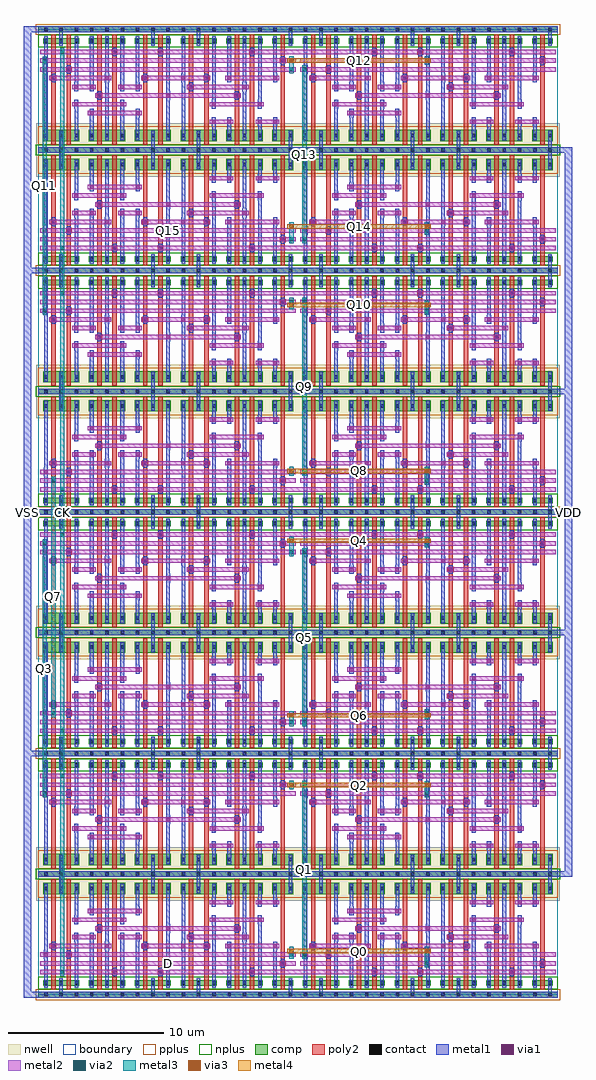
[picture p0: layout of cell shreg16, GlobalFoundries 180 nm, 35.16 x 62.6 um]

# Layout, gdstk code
import gdstk
lib = gdstk.Library(unit=1e-6, precision=1e-09)
def R(c, l, rs):  # rectangles x0, y0, x1, y1
    for r in rs: c.add(gdstk.rectangle(r[:2], r[2:], *l))
def A(c, l, x, y, w, h, nx, ny, dx, dy):  # array of equal rectangles
    R(c, l, [(x+i*dx, y+j*dy, x+i*dx+w, y+j*dy+h) for i in range(nx) for j in range(ny)])
boundary = (0, 0)
nwell = (21, 0)
comp = (22, 0)
poly2 = (30, 0)
pplus = (31, 0)
nplus = (32, 0)
contact = (33, 0)
metal1 = (34, 0)
via1 = (35, 0)
metal2 = (36, 0)
via2 = (38, 0)
via3 = (40, 0)
metal3 = (42, 0)
metal4 = (46, 0)

dff = lib.new_cell('dff')
R(dff, boundary, [(0,0,16.66,7.74)])
R(dff, nwell, [(-0.12,6.02,16.78,8.04)])
A(dff, comp, 0.31, 0.57, 2.32, 0.36, 5, 1, 2.94, 0)
A(dff, comp, 0.31, 6.45, 2.32, 0.72, 5, 1, 2.94, 0)
R(dff, comp, [(0,-0.18,16.66,0.18), (15.01,0.57,16.35,0.93), (15.01,6.45,16.35,7.17), (0,7.56,16.66,7.92)])
R(dff, poly2, [(0.84,0.35,1.12,1.15), (1.82,0.35,2.1,1.15), (3.78,0.35,4.06,1.15), (4.76,0.35,5.04,1.15), (6.72,0.35,7,1.15), (7.7,0.35,7.98,1.15), (9.66,0.35,9.94,1.15), (10.64,0.35,10.92,1.15), (12.6,0.35,12.88,1.15), (13.58,0.35,13.86,1.15), (15.54,0.35,15.82,1.15), (0.84,1.15,1.12,6.23), (1.82,1.15,2.1,6.23), (3.78,1.15,4.06,6.23), (4.76,1.15,5.04,6.23), (6.72,1.15,7,6.23), (7.7,1.15,7.98,6.23), (9.66,1.15,9.94,6.23), (10.64,1.15,10.92,6.23), (12.6,1.15,12.88,6.23), (13.58,1.15,13.86,6.23), (15.54,1.15,15.82,6.23), (4.72,1.27,5.08,1.63), (7.66,1.27,8.02,1.63), (13.54,1.27,13.9,1.63), (15.5,1.83,15.86,2.19), (1.78,2.39,2.14,2.75), (0.8,2.95,1.16,3.31), (6.68,2.95,7.04,3.31), (10.6,2.95,10.96,3.31), (9.62,3.51,9.98,3.87), (3.74,4.07,4.1,4.43), (12.56,4.07,12.92,4.43), (0.84,6.23,1.12,7.39), (1.82,6.23,2.1,7.39), (3.78,6.23,4.06,7.39), (4.76,6.23,5.04,7.39), (6.72,6.23,7,7.39), (7.7,6.23,7.98,7.39), (9.66,6.23,9.94,7.39), (10.64,6.23,10.92,7.39), (12.6,6.23,12.88,7.39), (13.58,6.23,13.86,7.39), (15.54,6.23,15.82,7.39)])
R(dff, pplus, [(-0.16,-0.34,16.82,0.34), (0,6.22,16.66,7.4)])
R(dff, nplus, [(0,0.34,16.66,1.16), (-0.16,7.4,16.82,8.08)])
A(dff, contact, 0.38, -0.11, 0.22, 0.22, 17, 2, 0.98, 0.75)
A(dff, contact, 0.38, 6.7, 0.22, 0.22, 17, 2, 0.98, 0.93)
R(dff, contact, [(4.79,1.34,5.01,1.56), (7.73,1.34,7.95,1.56), (13.61,1.34,13.83,1.56), (15.57,1.9,15.79,2.12), (1.85,2.46,2.07,2.68), (0.87,3.02,1.09,3.24), (6.75,3.02,6.97,3.24), (10.67,3.02,10.89,3.24), (9.69,3.58,9.91,3.8), (3.81,4.14,4.03,4.36), (12.63,4.14,12.85,4.36)])
A(dff, metal1, 0.375, 0.435, 0.23, 0.63, 17, 2, 0.98, 6.06)
A(dff, metal1, 9.195, 1.065, 0.23, 2.065, 3, 1, 2.94, 0)
A(dff, metal1, 4.28, 2.85, 0.26, 0.56, 3, 1, 2.45, 0)
A(dff, metal1, 9.18, 2.85, 0.26, 0.56, 3, 1, 1.47, 0)
A(dff, metal1, 6.24, 3.41, 0.26, 0.56, 3, 1, 3.43, 0)
R(dff, metal1, [(0,-0.18,16.66,0.18), (1.355,0,1.585,0.435), (7.235,0,7.465,0.435), (10.175,0,10.405,0.435), (16.055,0,16.285,0.435), (0.375,1.065,0.605,2.57), (2.335,1.065,2.565,3.69), (3.315,1.065,3.545,3.69), (4.295,1.065,4.525,3.13), (5.275,1.065,5.505,3.69), (6.255,1.065,6.485,3.69), (8.215,1.065,8.445,4.25), (11.155,1.065,11.385,4.81), (13.115,1.065,13.345,3.69), (14.095,1.065,14.325,4.81), (4.77,1.17,5.03,1.73), (7.71,1.17,7.97,1.73), (13.59,1.17,13.85,1.73), (15.55,1.73,15.81,2.29), (0.36,2.29,0.62,2.85), (0.36,2.29,0.62,2.85), (1.83,2.29,2.09,2.85), (0.375,2.57,0.605,6.495), (0.85,2.85,1.11,3.41), (4.28,2.85,4.54,3.41), (15.06,2.85,15.32,3.41), (4.295,3.13,4.525,6.495), (9.195,3.13,9.425,6.495), (2.32,3.41,2.58,3.97), (3.3,3.41,3.56,3.97), (5.26,3.41,5.52,3.97), (13.1,3.41,13.36,3.97), (13.115,3.69,13.345,6.495), (3.79,3.97,4.05,4.53), (8.2,3.97,8.46,4.53), (8.2,3.97,8.46,4.53), (12.61,3.97,12.87,4.53), (8.215,4.25,8.445,6.495), (2.32,4.53,2.58,5.09), (5.26,4.53,5.52,5.09), (11.14,4.53,11.4,5.09), (14.08,4.53,14.34,5.09), (2.335,4.81,2.565,6.495), (5.275,4.81,5.505,6.495), (3.3,5.09,3.56,5.65), (6.24,5.09,6.5,5.65), (3.315,5.37,3.545,6.495), (6.255,5.37,6.485,6.495), (11.14,5.65,11.4,6.21), (12.12,5.65,12.38,6.21), (14.08,5.65,14.34,6.21), (15.06,5.65,15.32,6.21), (11.155,5.93,11.385,6.495), (12.135,5.93,12.365,6.495), (14.095,5.93,14.325,6.495), (15.075,5.93,15.305,6.495), (1.355,7.125,1.585,7.74), (7.235,7.125,7.465,7.74), (10.175,7.125,10.405,7.74), (16.055,7.125,16.285,7.74), (0,7.56,16.66,7.92)])
A(dff, via1, 4.28, 3, 0.26, 0.26, 3, 1, 2.45, 0)
A(dff, via1, 9.18, 3, 0.26, 0.26, 3, 1, 1.47, 0)
A(dff, via1, 6.24, 3.56, 0.26, 0.26, 3, 1, 3.43, 0)
R(dff, via1, [(4.77,1.32,5.03,1.58), (7.71,1.32,7.97,1.58), (13.59,1.32,13.85,1.58), (15.55,1.88,15.81,2.14), (0.36,2.44,0.62,2.7), (0.36,2.44,0.62,2.7), (1.83,2.44,2.09,2.7), (0.85,3,1.11,3.26), (4.28,3,4.54,3.26), (15.06,3,15.32,3.26), (2.32,3.56,2.58,3.82), (3.3,3.56,3.56,3.82), (5.26,3.56,5.52,3.82), (13.1,3.56,13.36,3.82), (3.79,4.12,4.05,4.38), (8.2,4.12,8.46,4.38), (8.2,4.12,8.46,4.38), (12.61,4.12,12.87,4.38), (2.32,4.68,2.58,4.94), (5.26,4.68,5.52,4.94), (11.14,4.68,11.4,4.94), (14.08,4.68,14.34,4.94), (3.3,5.24,3.56,5.5), (6.24,5.24,6.5,5.5), (11.14,5.8,11.4,6.06), (12.12,5.8,12.38,6.06), (14.08,5.8,14.34,6.06), (15.06,5.8,15.32,6.06)])
A(dff, metal2, 0.14, 1.31, 16.38, 0.28, 1, 3, 0, 0.56)
A(dff, metal2, 4.15, 2.99, 0.52, 0.28, 3, 1, 2.45, 0)
A(dff, metal2, 9.05, 2.99, 0.52, 0.28, 3, 1, 1.47, 0)
A(dff, metal2, 6.11, 3.55, 0.52, 0.28, 3, 1, 3.43, 0)
R(dff, metal2, [(4.64,1.31,5.16,1.59), (7.58,1.31,8.1,1.59), (13.46,1.31,13.98,1.59), (15.42,1.87,15.94,2.15), (0.23,2.43,0.75,2.71), (0.23,2.43,0.75,2.71), (1.7,2.43,2.22,2.71), (0.72,2.99,1.24,3.27), (0.98,2.99,4.41,3.27), (4.15,2.99,4.67,3.27), (6.86,2.99,10.78,3.27), (12.25,2.99,15.19,3.27), (14.93,2.99,15.45,3.27), (2.19,3.55,2.71,3.83), (2.45,3.55,3.43,3.83), (3.17,3.55,3.69,3.83), (5.13,3.55,5.65,3.83), (5.39,3.55,6.37,3.83), (9.8,3.55,13.23,3.83), (12.97,3.55,13.49,3.83), (3.66,4.11,4.18,4.39), (3.92,4.11,12.74,4.39), (8.07,4.11,8.59,4.39), (8.07,4.11,8.59,4.39), (12.48,4.11,13,4.39), (2.19,4.67,2.71,4.95), (2.45,4.67,5.39,4.95), (5.13,4.67,5.65,4.95), (11.01,4.67,11.53,4.95), (11.27,4.67,14.21,4.95), (13.95,4.67,14.47,4.95), (3.17,5.23,3.69,5.51), (3.43,5.23,6.37,5.51), (6.11,5.23,6.63,5.51), (11.01,5.79,11.53,6.07), (11.27,5.79,12.25,6.07), (11.99,5.79,12.51,6.07), (13.95,5.79,14.47,6.07), (14.21,5.79,15.19,6.07), (14.93,5.79,15.45,6.07)])
dff.add(gdstk.Label('VSS', (8.33,0), layer=34, texttype=10))
dff.add(gdstk.Label('VDD', (8.33,7.74), layer=34, texttype=10))
dff.add(gdstk.Label('Q', (8.33,2.57), layer=36, texttype=10))
dff.add(gdstk.Label('CK', (8.33,1.45), layer=36, texttype=10))
dff.add(gdstk.Label('D', (8.33,2.01), layer=36, texttype=10))

shreg16 = lib.new_cell('shreg16')
A(shreg16, metal1, -0.92, -0.18, 0.92, 0.36, 1, 5, 0, 15.48)
A(shreg16, metal1, 33.32, 7.56, 0.92, 0.36, 1, 4, 0, 15.48)
R(shreg16, metal1, [(-0.92,-0.18,-0.46,62.1), (33.78,7.56,34.24,54.36)])
R(shreg16, metal2, [(1.28,1.31,1.8,1.59), (16.52,1.31,16.8,1.59), (24.66,1.87,25.18,2.15), (15.98,2.43,16.5,2.71), (16.82,2.43,17.34,2.71), (0.16,12.77,0.68,13.05), (24.66,12.77,25.18,13.05), (15.98,13.33,16.5,13.61), (16.82,13.33,17.34,13.61), (1.28,13.89,1.8,14.17), (16.52,13.89,16.8,14.17), (1.28,16.79,1.8,17.07), (16.52,16.79,16.8,17.07), (15.98,17.35,16.5,17.63), (16.82,17.35,17.34,17.63), (0.72,17.91,1.24,18.19), (24.66,17.91,25.18,18.19), (15.98,28.25,16.5,28.53), (16.82,28.25,17.34,28.53), (0.16,28.81,0.68,29.09), (24.66,28.81,25.18,29.09), (1.28,29.37,1.8,29.65), (16.52,29.37,16.8,29.65), (1.28,32.27,1.8,32.55), (16.52,32.27,16.8,32.55), (0.72,32.83,1.24,33.11), (24.66,32.83,25.18,33.11), (15.98,33.39,16.5,33.67), (16.82,33.39,17.34,33.67), (0.16,43.73,0.68,44.01), (24.66,43.73,25.18,44.01), (15.98,44.29,16.5,44.57), (16.82,44.29,17.34,44.57), (1.28,44.85,1.8,45.13), (16.52,44.85,16.8,45.13), (1.28,47.75,1.8,48.03), (16.52,47.75,16.8,48.03), (15.98,48.31,16.5,48.59), (16.82,48.31,17.34,48.59), (24.66,48.87,25.18,49.15), (15.98,59.21,16.5,59.49), (16.82,59.21,17.34,59.49), (0.16,59.77,0.68,60.05), (24.66,59.77,25.18,60.05), (1.28,60.33,1.8,60.61), (16.52,60.33,16.8,60.61)])
R(shreg16, via2, [(1.41,1.32,1.67,1.58), (24.79,1.88,25.05,2.14), (16.11,2.44,16.37,2.7), (16.95,2.44,17.21,2.7), (0.29,12.78,0.55,13.04), (24.79,12.78,25.05,13.04), (16.11,13.34,16.37,13.6), (16.95,13.34,17.21,13.6), (1.41,13.9,1.67,14.16), (1.41,16.8,1.67,17.06), (16.11,17.36,16.37,17.62), (16.95,17.36,17.21,17.62), (0.85,17.92,1.11,18.18), (24.79,17.92,25.05,18.18), (16.11,28.26,16.37,28.52), (16.95,28.26,17.21,28.52), (0.29,28.82,0.55,29.08), (24.79,28.82,25.05,29.08), (1.41,29.38,1.67,29.64), (1.41,32.28,1.67,32.54), (0.85,32.84,1.11,33.1), (24.79,32.84,25.05,33.1), (16.11,33.4,16.37,33.66), (16.95,33.4,17.21,33.66), (0.29,43.74,0.55,44), (24.79,43.74,25.05,44), (16.11,44.3,16.37,44.56), (16.95,44.3,17.21,44.56), (1.41,44.86,1.67,45.12), (1.41,47.76,1.67,48.02), (16.11,48.32,16.37,48.58), (16.95,48.32,17.21,48.58), (24.79,48.88,25.05,49.14), (16.11,59.22,16.37,59.48), (16.95,59.22,17.21,59.48), (0.29,59.78,0.55,60.04), (24.79,59.78,25.05,60.04), (1.41,60.34,1.67,60.6)])
R(shreg16, via3, [(16.11,2.67,16.37,2.93), (24.79,2.67,25.05,2.93), (16.11,13.31,16.37,13.57), (24.79,13.31,25.05,13.57), (16.11,17.79,16.37,18.05), (24.79,17.79,25.05,18.05), (16.11,28.99,16.37,29.25), (24.79,28.99,25.05,29.25), (16.11,33.47,16.37,33.73), (24.79,33.47,25.05,33.73), (16.11,44.11,16.37,44.37), (24.79,44.11,25.05,44.37), (16.11,49.15,16.37,49.41), (24.79,49.15,25.05,49.41), (16.11,59.79,16.37,60.05), (24.79,59.79,25.05,60.05)])
R(shreg16, metal3, [(1.4,1.19,1.68,1.71), (1.4,1.45,1.68,60.47), (24.78,1.75,25.06,2.27), (24.78,2.01,25.06,2.8), (16.1,2.31,16.38,2.83), (16.94,2.31,17.22,2.83), (16.1,2.54,16.38,3.06), (24.78,2.54,25.06,3.06), (16.1,2.57,16.38,2.8), (16.94,2.57,17.22,13.47), (0.28,12.65,0.56,13.17), (24.78,12.65,25.06,13.17), (0.28,12.91,0.56,28.95), (24.78,12.91,25.06,13.44), (16.1,13.18,16.38,13.7), (24.78,13.18,25.06,13.7), (16.1,13.21,16.38,13.73), (16.94,13.21,17.22,13.73), (16.1,13.44,16.38,13.47), (1.4,13.77,1.68,14.29), (1.4,16.67,1.68,17.19), (16.1,17.23,16.38,17.75), (16.94,17.23,17.22,17.75), (16.1,17.49,16.38,17.92), (16.94,17.49,17.22,28.39), (16.1,17.66,16.38,18.18), (24.78,17.66,25.06,18.18), (0.84,17.79,1.12,18.31), (24.78,17.79,25.06,18.31), (24.78,17.92,25.06,18.05), (0.84,18.05,1.12,32.97), (16.1,28.13,16.38,28.65), (16.94,28.13,17.22,28.65), (16.1,28.39,16.38,29.12), (0.28,28.69,0.56,29.21), (24.78,28.69,25.06,29.21), (16.1,28.86,16.38,29.38), (24.78,28.86,25.06,29.38), (24.78,28.95,25.06,29.12), (1.4,29.25,1.68,29.77), (1.4,32.15,1.68,32.67), (0.84,32.71,1.12,33.23), (24.78,32.71,25.06,33.23), (24.78,32.97,25.06,33.6), (16.1,33.27,16.38,33.79), (16.94,33.27,17.22,33.79), (16.1,33.34,16.38,33.86), (24.78,33.34,25.06,33.86), (16.1,33.53,16.38,33.6), (16.94,33.53,17.22,44.43), (0.28,43.61,0.56,44.13), (24.78,43.61,25.06,44.13), (0.28,43.87,0.56,59.91), (24.78,43.87,25.06,44.24), (16.1,43.98,16.38,44.5), (24.78,43.98,25.06,44.5), (16.1,44.17,16.38,44.69), (16.94,44.17,17.22,44.69), (16.1,44.24,16.38,44.43), (1.4,44.73,1.68,45.25), (1.4,47.63,1.68,48.15), (16.1,48.19,16.38,48.71), (16.94,48.19,17.22,48.71), (16.1,48.45,16.38,49.28), (16.94,48.45,17.22,59.35), (24.78,48.75,25.06,49.27), (24.78,49.01,25.06,49.28), (16.1,49.02,16.38,49.54), (24.78,49.02,25.06,49.54), (16.1,59.09,16.38,59.61), (16.94,59.09,17.22,59.61), (16.1,59.35,16.38,59.92), (0.28,59.65,0.56,60.17), (24.78,59.65,25.06,60.17), (16.1,59.66,16.38,60.18), (24.78,59.66,25.06,60.18), (24.78,59.91,25.06,59.92), (1.4,60.21,1.68,60.73)])
R(shreg16, metal4, [(15.98,2.66,16.5,2.94), (16.24,2.66,24.92,2.94), (24.66,2.66,25.18,2.94), (15.98,13.3,16.5,13.58), (16.24,13.3,24.92,13.58), (24.66,13.3,25.18,13.58), (15.98,17.78,16.5,18.06), (16.24,17.78,24.92,18.06), (24.66,17.78,25.18,18.06), (15.98,28.98,16.5,29.26), (16.24,28.98,24.92,29.26), (24.66,28.98,25.18,29.26), (15.98,33.46,16.5,33.74), (16.24,33.46,24.92,33.74), (24.66,33.46,25.18,33.74), (15.98,44.1,16.5,44.38), (16.24,44.1,24.92,44.38), (24.66,44.1,25.18,44.38), (15.98,49.14,16.5,49.42), (16.24,49.14,24.92,49.42), (24.66,49.14,25.18,49.42), (15.98,59.78,16.5,60.06), (16.24,59.78,24.92,60.06), (24.66,59.78,25.18,60.06)])
shreg16.add(gdstk.Reference(dff, (0,0)))
shreg16.add(gdstk.Reference(dff, (16.66,0)))
shreg16.add(gdstk.Reference(dff, (0,15.48), x_reflection=True))
shreg16.add(gdstk.Reference(dff, (16.66,15.48), x_reflection=True))
shreg16.add(gdstk.Reference(dff, (0,15.48)))
shreg16.add(gdstk.Reference(dff, (16.66,15.48)))
shreg16.add(gdstk.Reference(dff, (0,30.96), x_reflection=True))
shreg16.add(gdstk.Reference(dff, (16.66,30.96), x_reflection=True))
shreg16.add(gdstk.Reference(dff, (0,30.96)))
shreg16.add(gdstk.Reference(dff, (16.66,30.96)))
shreg16.add(gdstk.Reference(dff, (0,46.44), x_reflection=True))
shreg16.add(gdstk.Reference(dff, (16.66,46.44), x_reflection=True))
shreg16.add(gdstk.Reference(dff, (0,46.44)))
shreg16.add(gdstk.Reference(dff, (16.66,46.44)))
shreg16.add(gdstk.Reference(dff, (0,61.92), x_reflection=True))
shreg16.add(gdstk.Reference(dff, (16.66,61.92), x_reflection=True))
shreg16.add(gdstk.Label('VSS', (-0.69,30.96), layer=34, texttype=10))
shreg16.add(gdstk.Label('VDD', (34.01,30.96), layer=34, texttype=10))
shreg16.add(gdstk.Label('D', (8.33,2.01), layer=36, texttype=10))
shreg16.add(gdstk.Label('Q15', (8.33,49.01), layer=36, texttype=10))
shreg16.add(gdstk.Label('Q11', (0.42,51.89), layer=42, texttype=10))
shreg16.add(gdstk.Label('Q3', (0.42,20.93), layer=42, texttype=10))
shreg16.add(gdstk.Label('Q7', (0.98,25.51), layer=42, texttype=10))
shreg16.add(gdstk.Label('Q1', (17.08,8.02), layer=42, texttype=10))
shreg16.add(gdstk.Label('Q13', (17.08,53.9), layer=42, texttype=10))
shreg16.add(gdstk.Label('Q5', (17.08,22.94), layer=42, texttype=10))
shreg16.add(gdstk.Label('Q9', (17.08,38.98), layer=42, texttype=10))
shreg16.add(gdstk.Label('CK', (1.54,30.96), layer=42, texttype=10))
shreg16.add(gdstk.Label('Q0', (20.58,2.8), layer=46, texttype=10))
shreg16.add(gdstk.Label('Q10', (20.58,44.24), layer=46, texttype=10))
shreg16.add(gdstk.Label('Q12', (20.58,59.92), layer=46, texttype=10))
shreg16.add(gdstk.Label('Q14', (20.58,49.28), layer=46, texttype=10))
shreg16.add(gdstk.Label('Q2', (20.58,13.44), layer=46, texttype=10))
shreg16.add(gdstk.Label('Q4', (20.58,29.12), layer=46, texttype=10))
shreg16.add(gdstk.Label('Q6', (20.58,17.92), layer=46, texttype=10))
shreg16.add(gdstk.Label('Q8', (20.58,33.6), layer=46, texttype=10))

lib.write_gds('shreg16.gds')
